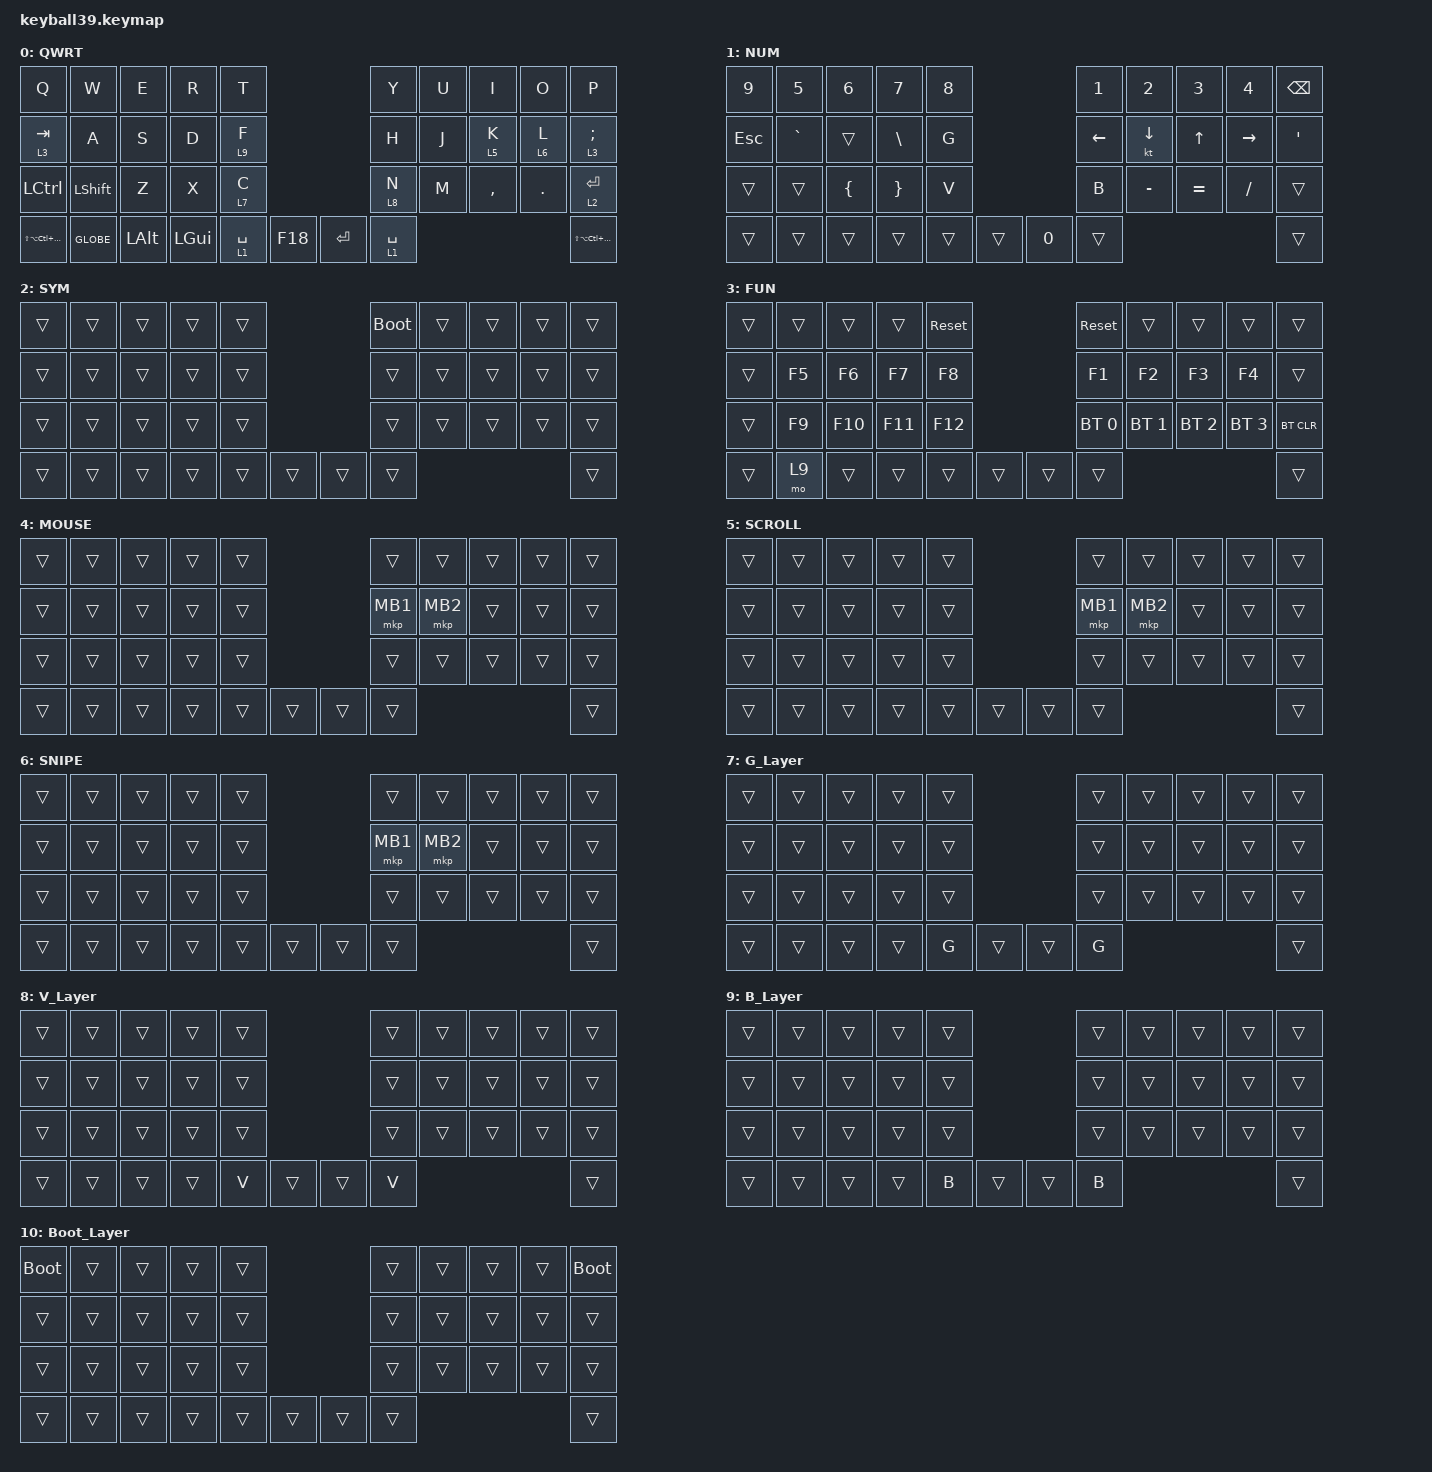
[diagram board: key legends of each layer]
#define DEFAULT 0
#define NUM     1
#define SYM     2
#define FUN     3
#define MOUSE   4
#define SCROLL  5
#define SNIPE   6

#include <behaviors/mouse_keys.dtsi>
#include <dt-bindings/zmk/mouse.h>
#include <behaviors.dtsi>
#include <dt-bindings/zmk/bt.h>
#include <dt-bindings/zmk/keys.h>
#include <dt-bindings/zmk/pointing.h>

&lt {
    tapping-term-ms = <240>;
    flavor = "balanced";
    quick-tap-ms = <150>;
};

&mt {
    tapping-term-ms = <200>;
    flavor = "tap-preferred";
    quick-tap-ms = <150>;
};

&caps_word { continue-list = <UNDERSCORE MINUS>; };

/ {
    // custom shift using mod-morph 

    behaviors {
        cmqus: comma_question {
            compatible = "zmk,behavior-mod-morph";
            label = "COMMA_QUESTION";
            #binding-cells = <0>;
            bindings = <&kp COMMA>, <&kp QUESTION>;

            mods = <(MOD_LSFT|MOD_RSFT)>;
        };

        dtsmi: dot_semi {
            compatible = "zmk,behavior-mod-morph";
            label = "DOT_SEMI";
            #binding-cells = <0>;
            bindings = <&kp DOT>, <&kp SEMI>;

            mods = <(MOD_LSFT|MOD_RSFT)>;
        };
    };

    macros {
        Hiragana: Hiragana {
            compatible = "zmk,behavior-macro";
            #binding-cells = <0>;
            bindings = <&kp LC(SPACE)>;
            label = "HIRAGANA";
        };
    };

    keymap {
        compatible = "zmk,keymap";

        default_layer {
            label = "QWRT";
            bindings = <
&kp Q                           &kp W           &kp E     &kp R         &kp T                            &kp Y        &kp U  &kp I      &kp O       &kp P
&lt 3 TAB                       &kp A           &kp S     &kp D         &lt 9 F                          &kp H        &kp J  &lt 5 K    &lt 6 L     &lt 3 SEMI
&kp LEFT_CONTROL                &kp LEFT_SHIFT  &kp Z     &kp X         &lt 7 C                          &lt 8 N      &kp M  &kp COMMA  &kp PERIOD  &lt 2 ENTER
&kp LS(LA(LC(LG(LEFT_SHIFT))))  &kp GLOBE       &kp LALT  &kp LEFT_GUI  &lt 1 SPACE  &kp F18  &kp ENTER  &lt 1 SPACE                                &kp LS(LA(LC(LG(LEFT_SHIFT))))
            >;
        };

        number_layer {
            label = "NUM";
            bindings = <
&kp N9      &kp N5     &kp NUMBER_6    &kp N7           &kp N8                        &kp NUMBER_1    &kp NUMBER_2  &kp NUMBER_3  &kp NUMBER_4  &kp BACKSPACE
&kp ESCAPE  &kp GRAVE  &trans          &kp BACKSLASH    &kp G                         &kp LEFT_ARROW  &kt DOWN      &kp UP_ARROW  &kp RIGHT     &kp APOS
&trans      &trans     &kp LEFT_BRACE  &kp RIGHT_BRACE  &kp V                         &kp B           &kp MINUS     &kp EQUAL     &kp SLASH     &trans
&trans      &trans     &trans          &trans           &trans  &trans  &kp NUMBER_0  &trans                                                    &trans
            >;
        };

        sym_layer {
            label = "SYM";
            bindings = <
&trans  &trans  &trans  &trans  &trans                  &bootloader  &trans  &trans  &trans  &trans
&trans  &trans  &trans  &trans  &trans                  &trans       &trans  &trans  &trans  &trans
&trans  &trans  &trans  &trans  &trans                  &trans       &trans  &trans  &trans  &trans
&trans  &trans  &trans  &trans  &trans  &trans  &trans  &trans                               &trans
            >;
        };

        function_layer {
            label = "FUN";
            bindings = <
&trans  &trans  &trans   &trans   &sys_reset                  &sys_reset    &trans        &trans        &trans        &trans
&trans  &kp F5  &kp F6   &kp F7   &kp F8                      &kp F1        &kp F2        &kp F3        &kp F4        &trans
&trans  &kp F9  &kp F10  &kp F11  &kp F12                     &bt BT_SEL 0  &bt BT_SEL 1  &bt BT_SEL 2  &bt BT_SEL 3  &bt BT_CLR
&trans  &mo 9   &trans   &trans   &trans      &trans  &trans  &trans                                                  &trans
            >;
        };

        mouse_layer {
            label = "MOUSE";
            bindings = <
&trans  &trans  &trans  &trans  &trans                  &trans    &trans    &trans  &trans  &trans
&trans  &trans  &trans  &trans  &trans                  &mkp MB1  &mkp MB2  &trans  &trans  &trans
&trans  &trans  &trans  &trans  &trans                  &trans    &trans    &trans  &trans  &trans
&trans  &trans  &trans  &trans  &trans  &trans  &trans  &trans                              &trans
            >;
        };

        scroll_layer {
            label = "SCROLL";
            bindings = <
&trans  &trans  &trans  &trans  &trans                  &trans    &trans    &trans  &trans  &trans
&trans  &trans  &trans  &trans  &trans                  &mkp MB1  &mkp MB2  &trans  &trans  &trans
&trans  &trans  &trans  &trans  &trans                  &trans    &trans    &trans  &trans  &trans
&trans  &trans  &trans  &trans  &trans  &trans  &trans  &trans                              &trans
            >;
        };

        snipe_layer {
            label = "SNIPE";
            bindings = <
&trans  &trans  &trans  &trans  &trans                  &trans    &trans    &trans  &trans  &trans
&trans  &trans  &trans  &trans  &trans                  &mkp MB1  &mkp MB2  &trans  &trans  &trans
&trans  &trans  &trans  &trans  &trans                  &trans    &trans    &trans  &trans  &trans
&trans  &trans  &trans  &trans  &trans  &trans  &trans  &trans                              &trans
            >;
        };

        G_Layer {
            bindings = <
&trans  &trans  &trans  &trans  &trans                  &trans  &trans  &trans  &trans  &trans
&trans  &trans  &trans  &trans  &trans                  &trans  &trans  &trans  &trans  &trans
&trans  &trans  &trans  &trans  &trans                  &trans  &trans  &trans  &trans  &trans
&trans  &trans  &trans  &trans  &kp G   &trans  &trans  &kp G                           &trans
            >;
        };

        V_Layer {
            bindings = <
&trans  &trans  &trans  &trans  &trans                  &trans  &trans  &trans  &trans  &trans
&trans  &trans  &trans  &trans  &trans                  &trans  &trans  &trans  &trans  &trans
&trans  &trans  &trans  &trans  &trans                  &trans  &trans  &trans  &trans  &trans
&trans  &trans  &trans  &trans  &kp V   &trans  &trans  &kp V                           &trans
            >;
        };

        B_Layer {
            bindings = <
&trans  &trans  &trans  &trans  &trans                  &trans  &trans  &trans  &trans  &trans
&trans  &trans  &trans  &trans  &trans                  &trans  &trans  &trans  &trans  &trans
&trans  &trans  &trans  &trans  &trans                  &trans  &trans  &trans  &trans  &trans
&trans  &trans  &trans  &trans  &kp B   &trans  &trans  &kp B                           &trans
            >;
        };

        Boot_Layer {
            bindings = <
&bootloader  &trans  &trans  &trans  &trans                  &trans  &trans  &trans  &trans  &bootloader
&trans       &trans  &trans  &trans  &trans                  &trans  &trans  &trans  &trans  &trans
&trans       &trans  &trans  &trans  &trans                  &trans  &trans  &trans  &trans  &trans
&trans       &trans  &trans  &trans  &trans  &trans  &trans  &trans                          &trans
            >;
        };
    };
};
